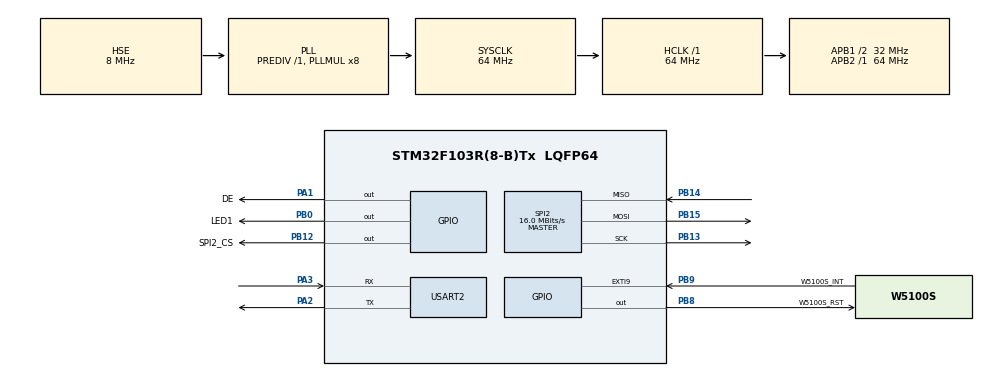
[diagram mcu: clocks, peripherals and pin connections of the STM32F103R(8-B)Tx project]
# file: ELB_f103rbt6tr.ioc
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Dma.Request0=SPI2_RX
Dma.Request1=SPI2_TX
Dma.SPI2_RX.0.Direction=DMA_PERIPH_TO_MEMORY
Dma.SPI2_RX.0.Instance=DMA1_Channel4
Dma.SPI2_RX.0.MemDataAlignment=DMA_MDATAALIGN_BYTE
Dma.SPI2_RX.0.MemInc=DMA_MINC_ENABLE
Dma.SPI2_RX.0.Mode=DMA_NORMAL
Dma.SPI2_RX.0.PeriphDataAlignment=DMA_PDATAALIGN_BYTE
Dma.SPI2_RX.0.PeriphInc=DMA_PINC_DISABLE
Dma.SPI2_RX.0.Priority=DMA_PRIORITY_HIGH
Dma.SPI2_TX.1.Direction=DMA_MEMORY_TO_PERIPH
Dma.SPI2_TX.1.Instance=DMA1_Channel5
Dma.SPI2_TX.1.MemDataAlignment=DMA_MDATAALIGN_BYTE
Dma.SPI2_TX.1.MemInc=DMA_MINC_ENABLE
Dma.SPI2_TX.1.Mode=DMA_NORMAL
Dma.SPI2_TX.1.PeriphDataAlignment=DMA_PDATAALIGN_BYTE
Dma.SPI2_TX.1.PeriphInc=DMA_PINC_DISABLE
Dma.SPI2_TX.1.Priority=DMA_PRIORITY_HIGH
Mcu.Family=STM32F1
Mcu.Name=STM32F103R(8-B)Tx
Mcu.Package=LQFP64
NVIC.DMA1_Channel4_IRQn=true\:0\:0\:false\:false\:true\:false\:true\:true
NVIC.DMA1_Channel5_IRQn=true\:0\:0\:false\:false\:true\:false\:true\:true
NVIC.EXTI9_5_IRQn=true\:0\:0\:false\:true\:true\:1\:true\:true\:true
NVIC.PriorityGroup=NVIC_PRIORITYGROUP_4
NVIC.SPI2_IRQn=true\:0\:0\:false\:false\:true\:true\:true\:true
NVIC.TIM2_IRQn=true\:0\:0\:false\:true\:true\:5\:true\:true\:true
NVIC.TIM3_IRQn=true\:0\:0\:false\:true\:true\:4\:true\:true\:true
NVIC.TIM4_IRQn=true\:0\:0\:false\:true\:true\:3\:true\:true\:true
NVIC.USART2_IRQn=true\:0\:0\:false\:true\:true\:2\:true\:true\:true
PA1.GPIO_Label=DE
PA1.Signal=GPIO_Output
PA13.Mode=JTAG_5_pins
PA13.Signal=SYS_JTMS-SWDIO
PA14.Mode=JTAG_5_pins
PA14.Signal=SYS_JTCK-SWCLK
PA15.Mode=JTAG_5_pins
PA15.Signal=SYS_JTDI
PA2.Mode=Asynchronous
PA2.Signal=USART2_TX
PA3.Mode=Asynchronous
PA3.Signal=USART2_RX
PB0.GPIO_Label=LED1
PB0.Signal=GPIO_Output
PB12.GPIO_Label=SPI2_CS
PB12.Signal=GPIO_Output
PB13.Mode=Full_Duplex_Master
PB13.Signal=SPI2_SCK
PB14.Mode=Full_Duplex_Master
PB14.Signal=SPI2_MISO
PB15.Mode=Full_Duplex_Master
PB15.Signal=SPI2_MOSI
PB3.Mode=JTAG_5_pins
PB3.Signal=SYS_JTDO-TRACESWO
PB4.Mode=JTAG_5_pins
PB4.Signal=SYS_NJTRST
PB8.GPIO_Label=W5100S_RST
PB8.Signal=GPIO_Output
PB9.GPIO_Label=W5100S_INT
PB9.GPIO_ModeDefaultEXTI=GPIO_MODE_IT_FALLING
PB9.Signal=GPXTI9
PD0-OSC_IN.Mode=HSE-External-Oscillator
PD0-OSC_IN.Signal=RCC_OSC_IN
PD1-OSC_OUT.Mode=HSE-External-Oscillator
PD1-OSC_OUT.Signal=RCC_OSC_OUT
ProjectManager.HeapSize=0x200
ProjectManager.StackSize=0x400
ProjectManager.TargetToolchain=STM32CubeIDE
RCC.AHBFreq_Value=64000000
RCC.APB1CLKDivider=RCC_HCLK_DIV2
RCC.APB1Freq_Value=32000000
RCC.APB1TimFreq_Value=64000000
RCC.APB2Freq_Value=64000000
RCC.APB2TimFreq_Value=64000000
RCC.HCLKFreq_Value=64000000
RCC.PLLMUL=RCC_PLL_MUL8
RCC.PLLSourceVirtual=RCC_PLLSOURCE_HSE
RCC.SYSCLKFreq_VALUE=64000000
RCC.SYSCLKSource=RCC_SYSCLKSOURCE_PLLCLK
RCC.USBFreq_Value=64000000
SPI2.BaudRatePrescaler=SPI_BAUDRATEPRESCALER_2
SPI2.CLKPhase=SPI_PHASE_2EDGE
SPI2.CLKPolarity=SPI_POLARITY_HIGH
SPI2.CalculateBaudRate=16.0 MBits/s
SPI2.Direction=SPI_DIRECTION_2LINES
SPI2.Mode=SPI_MODE_MASTER
SPI2.VirtualType=VM_MASTER
TIM2.Period=1000-1
TIM2.Prescaler=6400-1
TIM3.Period=1000-1
TIM3.Prescaler=6400-1
TIM4.Period=10000-1
TIM4.Prescaler=6400-1
USART2.VirtualMode=VM_ASYNC
VP_TIM2_VS_ClockSourceINT.Mode=Internal
VP_TIM3_VS_ClockSourceINT.Mode=Internal
VP_TIM4_VS_ClockSourceINT.Mode=Internal
board=custom

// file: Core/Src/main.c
/* USER CODE BEGIN Header */
/**
  ******************************************************************************
  * @file           : main.c
  * @brief          : Main program body
  ******************************************************************************
  * @attention
  *
  * Copyright (c) 2023 STMicroelectronics.
  * All rights reserved.
  *
  * This software is licensed under terms that can be found in the LICENSE file
  * in the root directory of this software component.
  * If no LICENSE file comes with this software, it is provided AS-IS.
  *
  ******************************************************************************
  */
/* USER CODE END Header */
#include "main.h"

/* USER CODE BEGIN Includes */
#include "stdlib.h"
#include "string.h"
#include "stdio.h"
#include "socket.h"
#include "wizchip_conf.h"
#include "W5100S/w5100s.h"

/* USER CODE END Includes */

/* USER CODE BEGIN PTD */
/* CHIP SETTING */

#define W5100S_CS_PORT			GPIOB
#define W5100S_CS_PIN			GPIO_PIN_12

#define RESET_W5100S_GPIO_Port	GPIOB
#define RESET_W5100S_Pin		GPIO_PIN_8

/* ETH */
#define ETH_MAX_BUF_SIZE		2048

#define SOCKET_LOOP 0

#define PORT_LOOP   5000

/* USER CODE END PTD */

SPI_HandleTypeDef hspi2;
DMA_HandleTypeDef hdma_spi2_rx;
DMA_HandleTypeDef hdma_spi2_tx;

TIM_HandleTypeDef htim2;
TIM_HandleTypeDef htim3;
TIM_HandleTypeDef htim4;

UART_HandleTypeDef huart2;

/* USER CODE BEGIN PV */
/* NET */
wiz_NetInfo gWIZNETINFO = {
		.mac = {0x00, 0x08, 0xdc, 0x6f, 0x00, 0x8a},
				.ip = {192, 168, 11, 109},
				.sn = {255, 255, 255, 0},
				.gw = {192, 168, 11, 1},
				.dns = {8, 8, 8, 8},
		.dhcp = NETINFO_STATIC
};
uint8_t  destip[4] = {192, 168, 11, 2};
uint16_t destport = 8080;
uint16_t destport_rx;
uint8_t buf[ETH_MAX_BUF_SIZE] = {0,};
uint16_t destrx_size;
/* USER CODE END PV */

void SystemClock_Config(void);
static void MX_GPIO_Init(void);
static void MX_DMA_Init(void);
static void MX_SPI2_Init(void);
static void MX_USART2_UART_Init(void);
static void MX_TIM2_Init(void);
static void MX_TIM3_Init(void);
static void MX_TIM4_Init(void);
static void MX_NVIC_Init(void);
/* USER CODE BEGIN PFP */

static void csEnable(void);
static void csDisable(void);

void print_network_information();

/* UART */
int _write(int fd, char *str, int len)
{
	HAL_GPIO_WritePin(DE_GPIO_Port, DE_Pin, 1);
	for(int i=0; i<len; i++)
	{
		HAL_UART_Transmit(&huart2, (uint8_t *)&str[i], 1, 0xFFFF);
	}
	HAL_GPIO_WritePin(DE_GPIO_Port, DE_Pin, 0);
	return len;
}

/* CHIP INIT */
void wizchip_reset()
{
	HAL_GPIO_WritePin(RESET_W5100S_GPIO_Port, RESET_W5100S_Pin, GPIO_PIN_RESET);
	HAL_Delay(10);
	HAL_GPIO_WritePin(RESET_W5100S_GPIO_Port, RESET_W5100S_Pin, GPIO_PIN_SET);
	HAL_Delay(100);
}

void wizchip_check(void)
{
    /* Read version register */
    if (getVER() != 0x51) // W5100S
    {
        printf(" ACCESS ERR : VERSIONR != 0x51, read value = 0x%02x\n", getVER());
        while (1);
    }
}

void wizchip_initialize(void)
{
	uint8_t W5100S_AdrSet[2][4]= {{2,2,2,2},{2,2,2,2}};
    uint8_t tmp1, tmp2;
	intr_kind temp= IK_DEST_UNREACH;

	wizchip_reset();
	if (ctlwizchip(CW_INIT_WIZCHIP, (void*)W5100S_AdrSet) == -1)
		printf(">>>>W5100s memory initialization failed\r\n");

	if(ctlwizchip(CW_SET_INTRMASK,&temp) == -1)
		printf("W5100S interrupt\r\n");

	wizchip_check();
	while(1)
	{
		ctlwizchip(CW_GET_PHYLINK, &tmp1 );
		ctlwizchip(CW_GET_PHYLINK, &tmp2 );
		if(tmp1==PHY_LINK_ON && tmp2==PHY_LINK_ON) break;
	}
}

void print_network_information()
{
	wizchip_getnetinfo(&gWIZNETINFO);

	printf("Mac address: %02x:%02x:%02x:%02x:%02x:%02x\n\r",gWIZNETINFO.mac[0],gWIZNETINFO.mac[1],gWIZNETINFO.mac[2],gWIZNETINFO.mac[3],gWIZNETINFO.mac[4],gWIZNETINFO.mac[5]);
	printf("IP address : %d.%d.%d.%d\n\r",gWIZNETINFO.ip[0],gWIZNETINFO.ip[1],gWIZNETINFO.ip[2],gWIZNETINFO.ip[3]);
	printf("SM Mask	   : %d.%d.%d.%d\n\r",gWIZNETINFO.sn[0],gWIZNETINFO.sn[1],gWIZNETINFO.sn[2],gWIZNETINFO.sn[3]);
	printf("Gate way   : %d.%d.%d.%d\n\r",gWIZNETINFO.gw[0],gWIZNETINFO.gw[1],gWIZNETINFO.gw[2],gWIZNETINFO.gw[3]);
	printf("DNS Server : %d.%d.%d.%d\n\r",gWIZNETINFO.dns[0],gWIZNETINFO.dns[1],gWIZNETINFO.dns[2],gWIZNETINFO.dns[3]);
}

/* SPI */
uint8_t spiReadByte(void)
{
	uint8_t readByte=0;
	uint8_t writeByte=0xFF;

	while(HAL_SPI_GetState(&hspi2)!=HAL_SPI_STATE_READY);
	HAL_SPI_TransmitReceive(&hspi2, &writeByte, &readByte, 1, 10);

	return readByte;
}

void spiWriteByte(uint8_t writeByte)
{
	uint8_t readByte=0;

	while(HAL_SPI_GetState(&hspi2)!=HAL_SPI_STATE_READY);
	HAL_SPI_TransmitReceive(&hspi2, &writeByte, &readByte, 1, 10);
}

/* SPI DMA */
uint8_t spiDmaReadByte(void)
{
	uint8_t readByte=0;

	while(HAL_SPI_GetState(&hspi2) != HAL_SPI_STATE_READY &&
		  HAL_DMA_GetState(hspi2.hdmarx) != HAL_DMA_STATE_READY && HAL_DMA_GetState(hspi2.hdmatx) != HAL_DMA_STATE_READY);

	HAL_SPI_Receive_DMA(&hspi2, &readByte, 1);

	while (HAL_DMA_GetState(hspi2.hdmarx) == HAL_DMA_STATE_BUSY|| HAL_DMA_GetState(hspi2.hdmarx) == HAL_DMA_STATE_RESET);
	while (HAL_DMA_GetState(hspi2.hdmatx) == HAL_DMA_STATE_BUSY|| HAL_DMA_GetState(hspi2.hdmatx) == HAL_DMA_STATE_RESET);

	return readByte;

}

void spiDmaWriteByte(uint8_t writeByte)
{

	while(HAL_SPI_GetState(&hspi2) != HAL_SPI_STATE_READY &&
		  HAL_DMA_GetState(hspi2.hdmarx) != HAL_DMA_STATE_READY && HAL_DMA_GetState(hspi2.hdmatx) != HAL_DMA_STATE_READY);

	HAL_SPI_Transmit_DMA(&hspi2, &writeByte, 1);

	while (HAL_DMA_GetState(hspi2.hdmarx) == HAL_DMA_STATE_BUSY|| HAL_DMA_GetState(hspi2.hdmarx) == HAL_DMA_STATE_RESET);
	while (HAL_DMA_GetState(hspi2.hdmatx) == HAL_DMA_STATE_BUSY|| HAL_DMA_GetState(hspi2.hdmatx) == HAL_DMA_STATE_RESET);

	return;
}

void spiReadBurst(uint8_t* pBuf, uint16_t len)
{
	while(HAL_SPI_GetState(&hspi2) != HAL_SPI_STATE_READY &&
		  HAL_DMA_GetState(hspi2.hdmarx) != HAL_DMA_STATE_READY && HAL_DMA_GetState(hspi2.hdmatx) != HAL_DMA_STATE_READY);

	HAL_SPI_Receive_DMA(&hspi2, pBuf, len);

	while (HAL_DMA_GetState(hspi2.hdmarx) == HAL_DMA_STATE_BUSY|| HAL_DMA_GetState(hspi2.hdmarx) == HAL_DMA_STATE_RESET);
	while (HAL_DMA_GetState(hspi2.hdmatx) == HAL_DMA_STATE_BUSY|| HAL_DMA_GetState(hspi2.hdmatx) == HAL_DMA_STATE_RESET);

	return;
}

void spiWriteBurst(uint8_t* pBuf, uint16_t len)
{
	while(HAL_SPI_GetState(&hspi2) != HAL_SPI_STATE_READY &&
		  HAL_DMA_GetState(hspi2.hdmarx) != HAL_DMA_STATE_READY && HAL_DMA_GetState(hspi2.hdmatx) != HAL_DMA_STATE_READY);

	HAL_SPI_Transmit_DMA(&hspi2, pBuf, len);

	while (HAL_DMA_GetState(hspi2.hdmarx) == HAL_DMA_STATE_BUSY|| HAL_DMA_GetState(hspi2.hdmarx) == HAL_DMA_STATE_RESET);
	while (HAL_DMA_GetState(hspi2.hdmatx) == HAL_DMA_STATE_BUSY|| HAL_DMA_GetState(hspi2.hdmatx) == HAL_DMA_STATE_RESET);

	return;
}

/* SPI CS CTRL */
static void csEnable(void)
{
	HAL_GPIO_WritePin(W5100S_CS_PORT, W5100S_CS_PIN, GPIO_PIN_RESET);
}

static void csDisable(void)
{
	HAL_GPIO_WritePin(W5100S_CS_PORT, W5100S_CS_PIN, GPIO_PIN_SET);
}
/* USER CODE END PFP */

/* USER CODE BEGIN 0 */

#define MAX_BUFFER_SIZE 20

typedef enum {
	IDLE = 0,
	HEADER,
	RECEIVING_DATA
} State;

State state;
uint8_t 	u2_recv;
uint8_t 	u2_buf[ETH_MAX_BUF_SIZE];
uint32_t	u2_index;
uint8_t 	pars_buf[ETH_MAX_BUF_SIZE];
uint32_t	pars_index;

void HAL_UART_RxCpltCallback(UART_HandleTypeDef *huart)
{
    if(huart->Instance == USART2)
    {
        HAL_UART_Receive_IT(&huart2, &u2_recv, 1);
        switch(state)
		{
			case IDLE: {
				if(u2_recv == 'S')	 				// Check the first char 'S'
				{
					u2_buf[u2_index++] = u2_recv;
					state = HEADER;
				}
			} break;

			case HEADER: {
				if(u2_recv == '0') 					// Check the second char '0'
				{
					u2_buf[u2_index++] = u2_recv;
					state = RECEIVING_DATA;			// Switch to RECEIVING_DATA state
//					HAL_TIM_Base_Start(&htim6);		// 100ms
				}
				else								// If not '0', buffer and index init, Switch to IDLE state
				{
					memset(u2_buf, 0, sizeof(u2_buf));
					u2_index = 0;
					state = IDLE;
				}
			} break;

			case RECEIVING_DATA: {
				u2_buf[u2_index++] = u2_recv;
				if(u2_index == 17) 	// received 17 pieces of data
				{
					pars_index = u2_index;
					memcpy(pars_buf, u2_buf, strlen((char *)u2_buf));
//						printf("%s\n",pars_buf);

					memset(u2_buf, 0, sizeof(u2_buf));	// Initializes buffers and indexes
					u2_index = 0;
					state = IDLE;								// Switch to IDLE state
				}

			} break;

			default:
				break;
		}
    }
}

typedef struct {
    uint32_t rx_stx[2], rx_id[3], rx_mode[2], \
             rx_v[4], rx_c[4], rx_leak_curr[3], rx_status[3],\
             rx_etx[4];
    uint32_t parsing_id, parsing_mode, parsing_v, \
             parsing_c, power, insulation;

    uint32_t elb_mode[10], elb_status[10], elb_vol[10], \
             elb_load_curr[10], elb_leak_curr[10], elb_power[10], \
             elb_insulation[10];

    uint32_t elb_door;
    uint32_t elb_mode_str[50], elb_status_str[50], \
             elb_vol_str[50], elb_load_curr_str[50], elb_leak_curr_str[50],\
             elb_power_str[50], elb_insulation_str[50];

    uint8_t elb_RE_json[2048];
} parseData;

typedef struct {
  uint16_t off0;
  uint16_t off2;
  uint32_t off4;
  uint32_t off8;
} mcu_id;

#define MMIO16(addr) (*(volatile uint16_t *)(addr))
#define MMIO32(addr) (*(volatile uint32_t *)(addr))
#define U_ID 0x1ffff7e8		//STM32F103VCTx ID register

void uid_read(mcu_id *id) {
  id->off0 = MMIO16(U_ID + 0x0);
  id->off2 = MMIO16(U_ID + 0x2);
  id->off4 = MMIO32(U_ID + 0x4);
  id->off8 = MMIO32(U_ID + 0x8);
}

mcu_id id;

void parse_send_data()
{
	parseData data = {0};
	uint32_t comMcuId = 0;

	if (strlen((const char *)pars_buf) == 17 && pars_buf[0] == 'S' && pars_buf[16] == 'X')
	{
		sscanf((char *)pars_buf, "%1s%2s%1s%3s%3s%2s%2s%3s",
				   (char *) data.rx_stx, (char *) data.rx_id, (char *) data.rx_mode, \
				   (char *) data.rx_v, (char *) data.rx_c, (char *) data.rx_leak_curr, \
				   (char *) data.rx_status, (char *) data.rx_etx);
		memset(pars_buf, 0, sizeof(pars_buf));

		data.parsing_id = (uint32_t)atoi((char *) data.rx_id);
		data.parsing_v = (uint32_t)atoi((char *) data.rx_v);
		data.parsing_c = (uint32_t)atoi((char *) data.rx_c);

		data.power = (uint32_t)(data.parsing_v * data.parsing_c);
		if (data.parsing_c != 0) {
			data.insulation = (uint32_t)(data.parsing_v / (float)data.parsing_c);
		}
		else {
			// 예외처리추가해야 함.
			printf("error : c = 0 \n");
			data.insulation = 1;	// 수정
		}
		if ( data.parsing_id > 0 &&  data.parsing_id <= 10) {
			data.elb_mode[ data.parsing_id - 1] = (uint32_t)atoi((char *) data.rx_mode);
			data.elb_status[ data.parsing_id - 1] = (uint32_t)atoi((char *) data.rx_status);
			data.elb_vol[ data.parsing_id - 1] =  data.parsing_v;
			data.elb_load_curr[ data.parsing_id - 1] =  data.parsing_c;
			data.elb_leak_curr[ data.parsing_id - 1] = (uint32_t)atoi((char *) data.rx_leak_curr);
			data.elb_power[ data.parsing_id - 1] =  data.power;
			data.elb_insulation[ data.parsing_id - 1] =  data.insulation;
		}
		sprintf((char *) data.elb_mode_str, "[%ld,%ld,%ld,%ld,%ld,%ld,%ld,%ld,%ld,%ld]",  data.elb_mode[0],  data.elb_mode[1],  data.elb_mode[2],  data.elb_mode[3],  data.elb_mode[4],  data.elb_mode[5],  data.elb_mode[6],  data.elb_mode[7],  data.elb_mode[8],  data.elb_mode[9]);
		//door? mcuid 만들어서 여기 추가
		sprintf((char *) data.elb_status_str, "[%ld,%ld,%ld,%ld,%ld,%ld,%ld,%ld,%ld,%ld]",  data.elb_status[0],  data.elb_status[1],  data.elb_status[2],  data.elb_status[3],  data.elb_status[4],  data.elb_status[5],  data.elb_status[6],  data.elb_status[7],  data.elb_status[8],  data.elb_status[9]);
		sprintf((char *) data.elb_vol_str, "[%ld,%ld,%ld,%ld,%ld,%ld,%ld,%ld,%ld,%ld]",  data.elb_vol[0],  data.elb_vol[1],  data.elb_vol[2],  data.elb_vol[3],  data.elb_vol[4],  data.elb_vol[5],  data.elb_vol[6],  data.elb_vol[7],  data.elb_vol[8],  data.elb_vol[9]);
		sprintf((char *) data.elb_load_curr_str, "[%ld,%ld,%ld,%ld,%ld,%ld,%ld,%ld,%ld,%ld]",  data.elb_load_curr[0],  data.elb_load_curr[1],  data.elb_load_curr[2],  data.elb_load_curr[3],  data.elb_load_curr[4],  data.elb_load_curr[5],  data.elb_load_curr[6],  data.elb_load_curr[7],  data.elb_load_curr[8],  data.elb_load_curr[9]);
		sprintf((char *) data.elb_leak_curr_str, "[%ld,%ld,%ld,%ld,%ld,%ld,%ld,%ld,%ld,%ld]",  data.elb_leak_curr[0],  data.elb_leak_curr[1],  data.elb_leak_curr[2],  data.elb_leak_curr[3],  data.elb_leak_curr[4],  data.elb_leak_curr[5],  data.elb_leak_curr[6],  data.elb_leak_curr[7],  data.elb_leak_curr[8],  data.elb_leak_curr[9]);
		sprintf((char *) data.elb_power_str, "[%ld,%ld,%ld,%ld,%ld,%ld,%ld,%ld,%ld,%ld]",  data.elb_power[0],  data.elb_power[1],  data.elb_power[2],  data.elb_power[3],  data.elb_power[4],  data.elb_power[5],  data.elb_power[6],  data.elb_power[7],  data.elb_power[8],  data.elb_power[9]);
		sprintf((char *) data.elb_insulation_str, "[%ld,%ld,%ld,%ld,%ld,%ld,%ld,%ld,%ld,%ld]",  data.elb_insulation[0],  data.elb_insulation[1],  data.elb_insulation[2],  data.elb_insulation[3],  data.elb_insulation[4],  data.elb_insulation[5],  data.elb_insulation[6],  data.elb_insulation[7],  data.elb_insulation[8],  data.elb_insulation[9]);

		// mcu id
		uid_read(&id);
		comMcuId = ((uint32_t)id.off0 << 16) | id.off2;

		sprintf((char *) data.elb_RE_json, "{\"mcu_id\":%ld,\"mod_id\":%ld,\"mod_door\":%ld,\"elb_mode\":%s,\"elb_status\":%s,\"elb_volt\":%s,\"elb_load_curr\":%s,\"elb_leak_curr\":%s,\"elb_power\":%s,\"elb_insulation\":%s}", comMcuId ,data.parsing_id,  data.elb_door, (char *) data.elb_mode_str, (char *) data.elb_status_str, (char *) data.elb_vol_str, (char *) data.elb_load_curr_str, (char *) data.elb_leak_curr_str,(char *) data.elb_power_str, (char *) data.elb_insulation_str);

		setIMR(0b00000000);
		sendto(SOCKET_LOOP, (uint8_t *)data.elb_RE_json, strlen((const char *)data.elb_RE_json), destip, destport);
		setIMR(0b00000001);
	}
	else {
		memset(pars_buf, 0, sizeof(pars_buf));
	}
}

void HAL_TIM_PeriodElapsedCallback(TIM_HandleTypeDef *htim)
{

	uint8_t RE_DATA_SEND[10] = "S01Re01xxE";

	if(htim->Instance==TIM2)		// 100ms
	{

	}
	if(htim->Instance==TIM3)		// 100ms
	{
		HAL_GPIO_WritePin(DE_GPIO_Port, DE_Pin, 1);
		HAL_UART_Transmit(&huart2, (uint8_t *)RE_DATA_SEND, strlen((char *)RE_DATA_SEND), 10);
		HAL_GPIO_WritePin(DE_GPIO_Port, DE_Pin, 0);
	}

	if(htim->Instance==TIM4)		// 1s
	{
		if(pars_buf > 0)
		{
			parse_send_data();
		}
	}
}

#if 1
uint32_t udp_rx_data_id;
void HAL_GPIO_EXTI_Callback(uint16_t GPIO_Pin)
{
	int32_t len;
	// Co DATA recvfrom server
	if(GPIO_Pin == W5100S_INT_Pin)
	{
		len = recvfrom(SOCKET_LOOP, buf, &destrx_size, destip, &destport_rx);
		if (len != 10) {
			memset(buf,0,sizeof(buf));
			setSn_IR(SOCKET_LOOP, 0xff);		// Clear flag
			return;
		}
		if ((buf[0] != 'S') || (buf[9] != 'E')){
			memset(buf,0,sizeof(buf));
			setSn_IR(SOCKET_LOOP, 0xff);		// Clear flag
			return;
		}
//		udp_rx_data_id = (buf[2]%16);	// elb_mode check id

		// Co DATA Sendto 485
		HAL_GPIO_WritePin(DE_GPIO_Port, DE_Pin, 1);
		HAL_UART_Transmit(&huart2, (uint8_t *)buf, strlen((const char *)buf), 10);
		HAL_GPIO_WritePin(DE_GPIO_Port, DE_Pin, 0);
	}
	setSn_IR(SOCKET_LOOP, 0xff);		// Clear flag

}
#endif
/* USER CODE END 0 */

int main(void)
{

  /* MCU Configuration--------------------------------------------------------*/

  /* Reset of all peripherals, Initializes the Flash interface and the Systick. */
  HAL_Init();

  /* Configure the system clock */
  SystemClock_Config();

  /* Initialize all configured peripherals */
  MX_GPIO_Init();
  MX_DMA_Init();
  MX_SPI2_Init();
  MX_USART2_UART_Init();
  MX_TIM2_Init();
  MX_TIM3_Init();
  MX_TIM4_Init();

  /* Initialize interrupts */
  MX_NVIC_Init();
  /* USER CODE BEGIN 2 */

#if 1
	reg_wizchip_cs_cbfunc(csEnable,csDisable);// CS function register
	reg_wizchip_spi_cbfunc(spiReadByte, spiWriteByte);// SPI method callback registration
	wizchip_initialize();
	ctlnetwork(CN_SET_NETINFO, &gWIZNETINFO);
	print_network_information();
	setMR2(0b01000000);			// MR2[6] IEN Bit enable INTn
	setIMR(0b00000001);			// IMR[0]S0_INT Bit enable SOCKET 0 Interrupt
	socket(SOCKET_LOOP, Sn_MR_UDP, PORT_LOOP, 0x00);

	HAL_UART_Receive_IT(&huart2, &u2_recv, 1);
	HAL_TIM_Base_Start_IT(&htim2);
	HAL_TIM_Base_Start_IT(&htim3);
	HAL_TIM_Base_Start_IT(&htim4);
#endif

  /* USER CODE END 2 */

  /* Infinite loop */
  while (1)
  {

  }
}

void SystemClock_Config(void)
{
  RCC_OscInitTypeDef RCC_OscInitStruct = {0};
  RCC_ClkInitTypeDef RCC_ClkInitStruct = {0};

  /** Initializes the RCC Oscillators according to the specified parameters
  * in the RCC_OscInitTypeDef structure.
  */
  RCC_OscInitStruct.OscillatorType = RCC_OSCILLATORTYPE_HSE;
  RCC_OscInitStruct.HSEState = RCC_HSE_ON;
  RCC_OscInitStruct.HSEPredivValue = RCC_HSE_PREDIV_DIV1;
  RCC_OscInitStruct.HSIState = RCC_HSI_ON;
  RCC_OscInitStruct.PLL.PLLState = RCC_PLL_ON;
  RCC_OscInitStruct.PLL.PLLSource = RCC_PLLSOURCE_HSE;
  RCC_OscInitStruct.PLL.PLLMUL = RCC_PLL_MUL8;
  if (HAL_RCC_OscConfig(&RCC_OscInitStruct) != HAL_OK)
  {
    Error_Handler();
  }

  /** Initializes the CPU, AHB and APB buses clocks
  */
  RCC_ClkInitStruct.ClockType = RCC_CLOCKTYPE_HCLK|RCC_CLOCKTYPE_SYSCLK
                              |RCC_CLOCKTYPE_PCLK1|RCC_CLOCKTYPE_PCLK2;
  RCC_ClkInitStruct.SYSCLKSource = RCC_SYSCLKSOURCE_PLLCLK;
  RCC_ClkInitStruct.AHBCLKDivider = RCC_SYSCLK_DIV1;
  RCC_ClkInitStruct.APB1CLKDivider = RCC_HCLK_DIV2;
  RCC_ClkInitStruct.APB2CLKDivider = RCC_HCLK_DIV1;

  if (HAL_RCC_ClockConfig(&RCC_ClkInitStruct, FLASH_LATENCY_2) != HAL_OK)
  {
    Error_Handler();
  }
}

/**
  * @brief NVIC Configuration.
  * @retval None
  */
static void MX_NVIC_Init(void)
{
  /* EXTI9_5_IRQn interrupt configuration */
  HAL_NVIC_SetPriority(EXTI9_5_IRQn, 0, 0);
  HAL_NVIC_EnableIRQ(EXTI9_5_IRQn);
  /* USART2_IRQn interrupt configuration */
  HAL_NVIC_SetPriority(USART2_IRQn, 0, 0);
  HAL_NVIC_EnableIRQ(USART2_IRQn);
  /* TIM4_IRQn interrupt configuration */
  HAL_NVIC_SetPriority(TIM4_IRQn, 0, 0);
  HAL_NVIC_EnableIRQ(TIM4_IRQn);
  /* TIM3_IRQn interrupt configuration */
  HAL_NVIC_SetPriority(TIM3_IRQn, 0, 0);
  HAL_NVIC_EnableIRQ(TIM3_IRQn);
  /* TIM2_IRQn interrupt configuration */
  HAL_NVIC_SetPriority(TIM2_IRQn, 0, 0);
  HAL_NVIC_EnableIRQ(TIM2_IRQn);
}

static void MX_SPI2_Init(void)
{

  /* SPI2 parameter configuration*/
  hspi2.Instance = SPI2;
  hspi2.Init.Mode = SPI_MODE_MASTER;
  hspi2.Init.Direction = SPI_DIRECTION_2LINES;
  hspi2.Init.DataSize = SPI_DATASIZE_8BIT;
  hspi2.Init.CLKPolarity = SPI_POLARITY_HIGH;
  hspi2.Init.CLKPhase = SPI_PHASE_2EDGE;
  hspi2.Init.NSS = SPI_NSS_SOFT;
  hspi2.Init.BaudRatePrescaler = SPI_BAUDRATEPRESCALER_2;
  hspi2.Init.FirstBit = SPI_FIRSTBIT_MSB;
  hspi2.Init.TIMode = SPI_TIMODE_DISABLE;
  hspi2.Init.CRCCalculation = SPI_CRCCALCULATION_DISABLE;
  hspi2.Init.CRCPolynomial = 10;
  if (HAL_SPI_Init(&hspi2) != HAL_OK)
  {
    Error_Handler();
  }

}

static void MX_TIM2_Init(void)
{

  TIM_ClockConfigTypeDef sClockSourceConfig = {0};
  TIM_MasterConfigTypeDef sMasterConfig = {0};

  htim2.Instance = TIM2;
  htim2.Init.Prescaler = 6400-1;
  htim2.Init.CounterMode = TIM_COUNTERMODE_UP;
  htim2.Init.Period = 1000-1;
  htim2.Init.ClockDivision = TIM_CLOCKDIVISION_DIV1;
  htim2.Init.AutoReloadPreload = TIM_AUTORELOAD_PRELOAD_DISABLE;
  if (HAL_TIM_Base_Init(&htim2) != HAL_OK)
  {
    Error_Handler();
  }
  sClockSourceConfig.ClockSource = TIM_CLOCKSOURCE_INTERNAL;
  if (HAL_TIM_ConfigClockSource(&htim2, &sClockSourceConfig) != HAL_OK)
  {
    Error_Handler();
  }
  sMasterConfig.MasterOutputTrigger = TIM_TRGO_RESET;
  sMasterConfig.MasterSlaveMode = TIM_MASTERSLAVEMODE_DISABLE;
  if (HAL_TIMEx_MasterConfigSynchronization(&htim2, &sMasterConfig) != HAL_OK)
  {
    Error_Handler();
  }

}

static void MX_TIM3_Init(void)
{

  TIM_ClockConfigTypeDef sClockSourceConfig = {0};
  TIM_MasterConfigTypeDef sMasterConfig = {0};

  htim3.Instance = TIM3;
  htim3.Init.Prescaler = 6400-1;
  htim3.Init.CounterMode = TIM_COUNTERMODE_UP;
  htim3.Init.Period = 1000-1;
  htim3.Init.ClockDivision = TIM_CLOCKDIVISION_DIV1;
  htim3.Init.AutoReloadPreload = TIM_AUTORELOAD_PRELOAD_DISABLE;
  if (HAL_TIM_Base_Init(&htim3) != HAL_OK)
  {
    Error_Handler();
  }
  sClockSourceConfig.ClockSource = TIM_CLOCKSOURCE_INTERNAL;
  if (HAL_TIM_ConfigClockSource(&htim3, &sClockSourceConfig) != HAL_OK)
  {
    Error_Handler();
  }
  sMasterConfig.MasterOutputTrigger = TIM_TRGO_RESET;
  sMasterConfig.MasterSlaveMode = TIM_MASTERSLAVEMODE_DISABLE;
  if (HAL_TIMEx_MasterConfigSynchronization(&htim3, &sMasterConfig) != HAL_OK)
  {
    Error_Handler();
  }

}

static void MX_TIM4_Init(void)
{

  TIM_ClockConfigTypeDef sClockSourceConfig = {0};
  TIM_MasterConfigTypeDef sMasterConfig = {0};

  htim4.Instance = TIM4;
  htim4.Init.Prescaler = 6400-1;
  htim4.Init.CounterMode = TIM_COUNTERMODE_UP;
  htim4.Init.Period = 10000-1;
  htim4.Init.ClockDivision = TIM_CLOCKDIVISION_DIV1;
  htim4.Init.AutoReloadPreload = TIM_AUTORELOAD_PRELOAD_DISABLE;
  if (HAL_TIM_Base_Init(&htim4) != HAL_OK)
  {
    Error_Handler();
  }
  sClockSourceConfig.ClockSource = TIM_CLOCKSOURCE_INTERNAL;
  if (HAL_TIM_ConfigClockSource(&htim4, &sClockSourceConfig) != HAL_OK)
  {
    Error_Handler();
  }
  sMasterConfig.MasterOutputTrigger = TIM_TRGO_RESET;
  sMasterConfig.MasterSlaveMode = TIM_MASTERSLAVEMODE_DISABLE;
  if (HAL_TIMEx_MasterConfigSynchronization(&htim4, &sMasterConfig) != HAL_OK)
  {
    Error_Handler();
  }

}

static void MX_USART2_UART_Init(void)
{

  huart2.Instance = USART2;
  huart2.Init.BaudRate = 115200;
  huart2.Init.WordLength = UART_WORDLENGTH_8B;
  huart2.Init.StopBits = UART_STOPBITS_1;
  huart2.Init.Parity = UART_PARITY_NONE;
  huart2.Init.Mode = UART_MODE_TX_RX;
  huart2.Init.HwFlowCtl = UART_HWCONTROL_NONE;
  huart2.Init.OverSampling = UART_OVERSAMPLING_16;
  if (HAL_UART_Init(&huart2) != HAL_OK)
  {
    Error_Handler();
  }

}

static void MX_DMA_Init(void)
{

  /* DMA controller clock enable */
  __HAL_RCC_DMA1_CLK_ENABLE();

  /* DMA interrupt init */
  /* DMA1_Channel4_IRQn interrupt configuration */
  HAL_NVIC_SetPriority(DMA1_Channel4_IRQn, 0, 0);
  HAL_NVIC_EnableIRQ(DMA1_Channel4_IRQn);
  /* DMA1_Channel5_IRQn interrupt configuration */
  HAL_NVIC_SetPriority(DMA1_Channel5_IRQn, 0, 0);
  HAL_NVIC_EnableIRQ(DMA1_Channel5_IRQn);

}

static void MX_GPIO_Init(void)
{
  GPIO_InitTypeDef GPIO_InitStruct = {0};

  /* GPIO Ports Clock Enable */
  __HAL_RCC_GPIOD_CLK_ENABLE();
  __HAL_RCC_GPIOA_CLK_ENABLE();
  __HAL_RCC_GPIOB_CLK_ENABLE();

  /*Configure GPIO pin Output Level */
  HAL_GPIO_WritePin(DE_GPIO_Port, DE_Pin, GPIO_PIN_RESET);

  /*Configure GPIO pin Output Level */
  HAL_GPIO_WritePin(GPIOB, LED1_Pin|SPI2_CS_Pin|W5100S_RST_Pin, GPIO_PIN_RESET);

  /*Configure GPIO pin : DE_Pin */
  GPIO_InitStruct.Pin = DE_Pin;
  GPIO_InitStruct.Mode = GPIO_MODE_OUTPUT_PP;
  GPIO_InitStruct.Pull = GPIO_NOPULL;
  GPIO_InitStruct.Speed = GPIO_SPEED_FREQ_LOW;
  HAL_GPIO_Init(DE_GPIO_Port, &GPIO_InitStruct);

  /*Configure GPIO pins : LED1_Pin SPI2_CS_Pin W5100S_RST_Pin */
  GPIO_InitStruct.Pin = LED1_Pin|SPI2_CS_Pin|W5100S_RST_Pin;
  GPIO_InitStruct.Mode = GPIO_MODE_OUTPUT_PP;
  GPIO_InitStruct.Pull = GPIO_NOPULL;
  GPIO_InitStruct.Speed = GPIO_SPEED_FREQ_LOW;
  HAL_GPIO_Init(GPIOB, &GPIO_InitStruct);

  /*Configure GPIO pin : W5100S_INT_Pin */
  GPIO_InitStruct.Pin = W5100S_INT_Pin;
  GPIO_InitStruct.Mode = GPIO_MODE_IT_FALLING;
  GPIO_InitStruct.Pull = GPIO_NOPULL;
  HAL_GPIO_Init(W5100S_INT_GPIO_Port, &GPIO_InitStruct);

}

void Error_Handler(void)
{
  __disable_irq();
  while (1)
  {
  }
}
